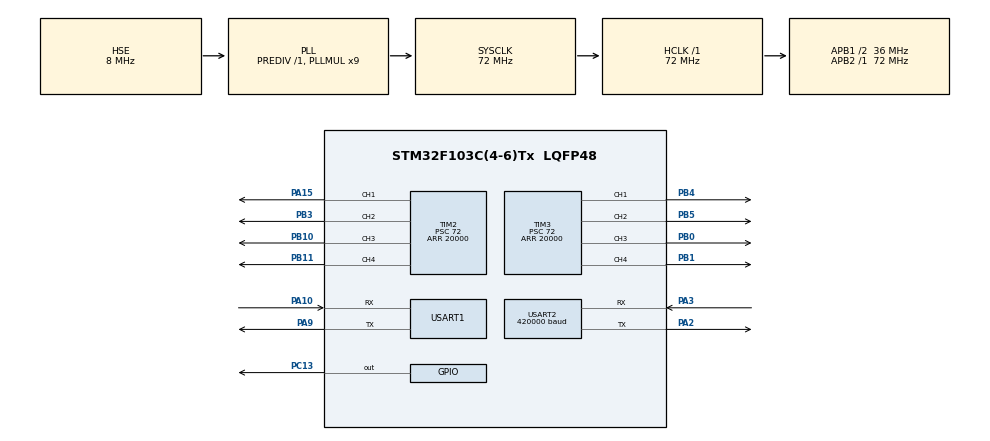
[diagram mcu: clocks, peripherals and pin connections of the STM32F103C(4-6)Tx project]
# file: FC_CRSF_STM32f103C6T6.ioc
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Dma.Request0=USART2_RX
Dma.USART2_RX.0.Direction=DMA_PERIPH_TO_MEMORY
Dma.USART2_RX.0.Instance=DMA1_Channel6
Dma.USART2_RX.0.MemDataAlignment=DMA_MDATAALIGN_BYTE
Dma.USART2_RX.0.MemInc=DMA_MINC_ENABLE
Dma.USART2_RX.0.Mode=DMA_CIRCULAR
Dma.USART2_RX.0.PeriphDataAlignment=DMA_PDATAALIGN_BYTE
Dma.USART2_RX.0.PeriphInc=DMA_PINC_DISABLE
Dma.USART2_RX.0.Priority=DMA_PRIORITY_LOW
Mcu.Family=STM32F1
Mcu.Name=STM32F103C(4-6)Tx
Mcu.Package=LQFP48
NVIC.DMA1_Channel6_IRQn=true\:0\:0\:false\:false\:true\:false\:true
NVIC.PriorityGroup=NVIC_PRIORITYGROUP_4
NVIC.USART1_IRQn=true\:0\:0\:false\:false\:true\:true\:true
PA10.Mode=Asynchronous
PA10.Signal=USART1_RX
PA13.Mode=Serial_Wire
PA13.Signal=SYS_JTMS-SWDIO
PA14.Mode=Serial_Wire
PA14.Signal=SYS_JTCK-SWCLK
PA15.Signal=S_TIM2_CH1_ETR
PA2.Mode=Asynchronous
PA2.Signal=USART2_TX
PA3.Mode=Asynchronous
PA3.Signal=USART2_RX
PA9.Mode=Asynchronous
PA9.Signal=USART1_TX
PB0.Signal=S_TIM3_CH3
PB1.Signal=S_TIM3_CH4
PB10.Signal=S_TIM2_CH3
PB11.Signal=S_TIM2_CH4
PB3.Signal=S_TIM2_CH2
PB4.Signal=S_TIM3_CH1
PB5.Signal=S_TIM3_CH2
PC13-TAMPER-RTC.Signal=GPIO_Output
PD0-OSC_IN.Mode=HSE-External-Oscillator
PD0-OSC_IN.Signal=RCC_OSC_IN
PD1-OSC_OUT.Mode=HSE-External-Oscillator
PD1-OSC_OUT.Signal=RCC_OSC_OUT
ProjectManager.HeapSize=0x200
ProjectManager.StackSize=0x400
ProjectManager.TargetToolchain=STM32CubeIDE
RCC.AHBFreq_Value=72000000
RCC.APB1CLKDivider=RCC_HCLK_DIV2
RCC.APB1Freq_Value=36000000
RCC.APB1TimFreq_Value=72000000
RCC.APB2Freq_Value=72000000
RCC.APB2TimFreq_Value=72000000
RCC.HCLKFreq_Value=72000000
RCC.PLLMUL=RCC_PLL_MUL9
RCC.PLLSourceVirtual=RCC_PLLSOURCE_HSE
RCC.SYSCLKFreq_VALUE=72000000
RCC.SYSCLKSource=RCC_SYSCLKSOURCE_PLLCLK
RCC.USBFreq_Value=72000000
SH.S_TIM2_CH1_ETR.0=TIM2_CH1,PWM Generation1 CH1
SH.S_TIM2_CH2.0=TIM2_CH2,PWM Generation2 CH2
SH.S_TIM2_CH3.0=TIM2_CH3,PWM Generation3 CH3
SH.S_TIM2_CH4.0=TIM2_CH4,PWM Generation4 CH4
SH.S_TIM3_CH1.0=TIM3_CH1,PWM Generation1 CH1
SH.S_TIM3_CH2.0=TIM3_CH2,PWM Generation2 CH2
SH.S_TIM3_CH3.0=TIM3_CH3,PWM Generation3 CH3
SH.S_TIM3_CH4.0=TIM3_CH4,PWM Generation4 CH4
TIM2.Channel-PWM\ Generation1\ CH1=TIM_CHANNEL_1
TIM2.Channel-PWM\ Generation2\ CH2=TIM_CHANNEL_2
TIM2.Channel-PWM\ Generation3\ CH3=TIM_CHANNEL_3
TIM2.Channel-PWM\ Generation4\ CH4=TIM_CHANNEL_4
TIM2.Period=20000
TIM2.Prescaler=72
TIM3.Channel-PWM\ Generation1\ CH1=TIM_CHANNEL_1
TIM3.Channel-PWM\ Generation2\ CH2=TIM_CHANNEL_2
TIM3.Channel-PWM\ Generation3\ CH3=TIM_CHANNEL_3
TIM3.Channel-PWM\ Generation4\ CH4=TIM_CHANNEL_4
TIM3.Period=20000
TIM3.Prescaler=72
USART1.VirtualMode=VM_ASYNC
USART2.BaudRate=420000
USART2.VirtualMode=VM_ASYNC
board=custom

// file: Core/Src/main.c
/* USER CODE BEGIN Header */
/**
  ******************************************************************************
  * @file           : main.c
  * @brief          : Main program body
  ******************************************************************************
  * @attention
  *
  * Copyright (c) 2022 STMicroelectronics.
  * All rights reserved.
  *
  * This software is licensed under terms that can be found in the LICENSE file
  * in the root directory of this software component.
  * If no LICENSE file comes with this software, it is provided AS-IS.
  *
  ******************************************************************************
  */
/* USER CODE END Header */
#include "main.h"

/* USER CODE BEGIN Includes */

#include <string.h>
#include <stdio.h>

#include "CRSF.h"

/* USER CODE END Includes */

/* USER CODE BEGIN PTD */

struct {
	uint16_t Pitch_PWM;
	uint16_t Roll_PWM;
} RecieveStruct;

/* USER CODE END PTD */

TIM_HandleTypeDef htim2;
TIM_HandleTypeDef htim3;

UART_HandleTypeDef huart1;
UART_HandleTypeDef huart2;
DMA_HandleTypeDef hdma_usart2_rx;

/* USER CODE BEGIN PV */

uint8_t data = 0;
uint32_t last, now;

/* USER CODE END PV */

void SystemClock_Config(void);
static void MX_GPIO_Init(void);
static void MX_USART1_UART_Init(void);
static void MX_USART2_UART_Init(void);
static void MX_DMA_Init(void);
static void MX_TIM2_Init(void);
static void MX_TIM3_Init(void);

/* USER CODE BEGIN 0 */

void HAL_UART_RxCpltCallback(UART_HandleTypeDef *huart)
  {
      if (huart == &huart2){
          ProcessCRSF(data);
          HAL_UART_Receive_DMA(&huart2, &data, 1);
      }

      if (huart == &huart1) {
      		uint8_t ack = 4;

      		HAL_UART_Transmit_IT(&huart1, &ack, 1);

      	}
  }

void HAL_UART_TxCpltCallback(UART_HandleTypeDef *huart) {
	if (huart == &huart1) {
		HAL_UART_Receive_IT(&huart1, &RecieveStruct, 4);
	}
}

/* USER CODE END 0 */

int main(void)
{

  /* MCU Configuration--------------------------------------------------------*/

  /* Reset of all peripherals, Initializes the Flash interface and the Systick. */
  HAL_Init();

  /* Configure the system clock */
  SystemClock_Config();

  /* Initialize all configured peripherals */
  MX_GPIO_Init();
  MX_USART1_UART_Init();
  MX_USART2_UART_Init();
  MX_DMA_Init();
  MX_TIM2_Init();
  MX_TIM3_Init();
  /* USER CODE BEGIN 2 */

  DWT_Init();

  HAL_UART_Receive_DMA(&huart2, &data, 1);

  HAL_UART_Receive_IT(&huart1, &RecieveStruct, 4);

  HAL_TIM_PWM_Start(&htim2, TIM_CHANNEL_1);
  HAL_TIM_PWM_Start(&htim2, TIM_CHANNEL_2);
  HAL_TIM_PWM_Start(&htim2, TIM_CHANNEL_3);
  HAL_TIM_PWM_Start(&htim2, TIM_CHANNEL_4);

  HAL_TIM_PWM_Start(&htim3, TIM_CHANNEL_1);
  HAL_TIM_PWM_Start(&htim3, TIM_CHANNEL_2);
  HAL_TIM_PWM_Start(&htim3, TIM_CHANNEL_3);
  HAL_TIM_PWM_Start(&htim3, TIM_CHANNEL_4);

  /* USER CODE END 2 */

  /* Infinite loop */
  /* USER CODE BEGIN WHILE */
  while (1)
  {
	  if(HAL_GetTick()- last > 10){
		  uint8_t mode = 0;
		  uint16_t modePWM = crsfReadRawRC(5);

		  if(modePWM > 1300){
			  mode = 1;
		  }
		  else{
			  mode = 0;
		  }

		  modePWM = crsfReadRawRC(6);

		  if(mode){
			  if(modePWM < 1300){
				  mode = 1;
			  }
			  else if(modePWM < 1700){
				  mode = 2;
			  }
			  else{
				  mode = 3;
			  }
		  }

		  switch(mode){
		  case 0:
			  /*Manual control*/
			  TIM2->CCR1 = crsfReadRawRC(0); //Aile
			  TIM2->CCR2 = crsfReadRawRC(1); //Alev
			  TIM3->CCR1 = crsfReadRawRC(2); //Throttle
			  TIM3->CCR2 = crsfReadRawRC(3); //Ruder
			  TIM2->CCR3 = crsfReadRawRC(0); //Aile
			  break;
		  case 1:
			  TIM2->CCR1 = RecieveStruct.Roll_PWM;
			  TIM2->CCR2 = crsfReadRawRC(1); //Alev
			  TIM3->CCR1 = crsfReadRawRC(2); //Throttle
			  TIM3->CCR2 = crsfReadRawRC(3); //Ruder
			  TIM2->CCR3 = RecieveStruct.Roll_PWM; //Aile
			  break;
		  case 2:
			  TIM2->CCR1 = crsfReadRawRC(0); //Aile
			  TIM2->CCR2 = RecieveStruct.Pitch_PWM;
			  TIM3->CCR1 = crsfReadRawRC(2); //Throttle
			  TIM3->CCR2 = crsfReadRawRC(3); //Ruder
			  TIM2->CCR3 = crsfReadRawRC(0); //Aile
			  break;
		  case 3:
			  TIM2->CCR1 = RecieveStruct.Roll_PWM;
			  TIM2->CCR2 = RecieveStruct.Pitch_PWM;
			  TIM3->CCR1 = crsfReadRawRC(2); //Throttle
			  TIM3->CCR2 = crsfReadRawRC(3); //Ruder
			  TIM2->CCR3 = RecieveStruct.Roll_PWM; //Aile

		  }

	  if(crsfReadRawRC(1) > 0){
		  HAL_GPIO_TogglePin(GPIOC, GPIO_PIN_13);
	  }
	  last = HAL_GetTick();
	  }
    /* USER CODE END WHILE */

  }
}

void SystemClock_Config(void)
{
  RCC_OscInitTypeDef RCC_OscInitStruct = {0};
  RCC_ClkInitTypeDef RCC_ClkInitStruct = {0};

  /** Initializes the RCC Oscillators according to the specified parameters
  * in the RCC_OscInitTypeDef structure.
  */
  RCC_OscInitStruct.OscillatorType = RCC_OSCILLATORTYPE_HSE;
  RCC_OscInitStruct.HSEState = RCC_HSE_ON;
  RCC_OscInitStruct.HSEPredivValue = RCC_HSE_PREDIV_DIV1;
  RCC_OscInitStruct.HSIState = RCC_HSI_ON;
  RCC_OscInitStruct.PLL.PLLState = RCC_PLL_ON;
  RCC_OscInitStruct.PLL.PLLSource = RCC_PLLSOURCE_HSE;
  RCC_OscInitStruct.PLL.PLLMUL = RCC_PLL_MUL9;
  if (HAL_RCC_OscConfig(&RCC_OscInitStruct) != HAL_OK)
  {
    Error_Handler();
  }
  /** Initializes the CPU, AHB and APB buses clocks
  */
  RCC_ClkInitStruct.ClockType = RCC_CLOCKTYPE_HCLK|RCC_CLOCKTYPE_SYSCLK
                              |RCC_CLOCKTYPE_PCLK1|RCC_CLOCKTYPE_PCLK2;
  RCC_ClkInitStruct.SYSCLKSource = RCC_SYSCLKSOURCE_PLLCLK;
  RCC_ClkInitStruct.AHBCLKDivider = RCC_SYSCLK_DIV1;
  RCC_ClkInitStruct.APB1CLKDivider = RCC_HCLK_DIV2;
  RCC_ClkInitStruct.APB2CLKDivider = RCC_HCLK_DIV1;

  if (HAL_RCC_ClockConfig(&RCC_ClkInitStruct, FLASH_LATENCY_2) != HAL_OK)
  {
    Error_Handler();
  }
}

static void MX_TIM2_Init(void)
{

  TIM_MasterConfigTypeDef sMasterConfig = {0};
  TIM_OC_InitTypeDef sConfigOC = {0};

  htim2.Instance = TIM2;
  htim2.Init.Prescaler = 72;
  htim2.Init.CounterMode = TIM_COUNTERMODE_UP;
  htim2.Init.Period = 20000;
  htim2.Init.ClockDivision = TIM_CLOCKDIVISION_DIV1;
  htim2.Init.AutoReloadPreload = TIM_AUTORELOAD_PRELOAD_DISABLE;
  if (HAL_TIM_PWM_Init(&htim2) != HAL_OK)
  {
    Error_Handler();
  }
  sMasterConfig.MasterOutputTrigger = TIM_TRGO_RESET;
  sMasterConfig.MasterSlaveMode = TIM_MASTERSLAVEMODE_DISABLE;
  if (HAL_TIMEx_MasterConfigSynchronization(&htim2, &sMasterConfig) != HAL_OK)
  {
    Error_Handler();
  }
  sConfigOC.OCMode = TIM_OCMODE_PWM1;
  sConfigOC.Pulse = 0;
  sConfigOC.OCPolarity = TIM_OCPOLARITY_HIGH;
  sConfigOC.OCFastMode = TIM_OCFAST_DISABLE;
  if (HAL_TIM_PWM_ConfigChannel(&htim2, &sConfigOC, TIM_CHANNEL_1) != HAL_OK)
  {
    Error_Handler();
  }
  if (HAL_TIM_PWM_ConfigChannel(&htim2, &sConfigOC, TIM_CHANNEL_2) != HAL_OK)
  {
    Error_Handler();
  }
  if (HAL_TIM_PWM_ConfigChannel(&htim2, &sConfigOC, TIM_CHANNEL_3) != HAL_OK)
  {
    Error_Handler();
  }
  if (HAL_TIM_PWM_ConfigChannel(&htim2, &sConfigOC, TIM_CHANNEL_4) != HAL_OK)
  {
    Error_Handler();
  }
  HAL_TIM_MspPostInit(&htim2);

}

static void MX_TIM3_Init(void)
{

  TIM_MasterConfigTypeDef sMasterConfig = {0};
  TIM_OC_InitTypeDef sConfigOC = {0};

  htim3.Instance = TIM3;
  htim3.Init.Prescaler = 72;
  htim3.Init.CounterMode = TIM_COUNTERMODE_UP;
  htim3.Init.Period = 20000;
  htim3.Init.ClockDivision = TIM_CLOCKDIVISION_DIV1;
  htim3.Init.AutoReloadPreload = TIM_AUTORELOAD_PRELOAD_DISABLE;
  if (HAL_TIM_PWM_Init(&htim3) != HAL_OK)
  {
    Error_Handler();
  }
  sMasterConfig.MasterOutputTrigger = TIM_TRGO_RESET;
  sMasterConfig.MasterSlaveMode = TIM_MASTERSLAVEMODE_DISABLE;
  if (HAL_TIMEx_MasterConfigSynchronization(&htim3, &sMasterConfig) != HAL_OK)
  {
    Error_Handler();
  }
  sConfigOC.OCMode = TIM_OCMODE_PWM1;
  sConfigOC.Pulse = 0;
  sConfigOC.OCPolarity = TIM_OCPOLARITY_HIGH;
  sConfigOC.OCFastMode = TIM_OCFAST_DISABLE;
  if (HAL_TIM_PWM_ConfigChannel(&htim3, &sConfigOC, TIM_CHANNEL_1) != HAL_OK)
  {
    Error_Handler();
  }
  if (HAL_TIM_PWM_ConfigChannel(&htim3, &sConfigOC, TIM_CHANNEL_2) != HAL_OK)
  {
    Error_Handler();
  }
  if (HAL_TIM_PWM_ConfigChannel(&htim3, &sConfigOC, TIM_CHANNEL_3) != HAL_OK)
  {
    Error_Handler();
  }
  if (HAL_TIM_PWM_ConfigChannel(&htim3, &sConfigOC, TIM_CHANNEL_4) != HAL_OK)
  {
    Error_Handler();
  }
  HAL_TIM_MspPostInit(&htim3);

}

static void MX_USART1_UART_Init(void)
{

  huart1.Instance = USART1;
  huart1.Init.BaudRate = 115200;
  huart1.Init.WordLength = UART_WORDLENGTH_8B;
  huart1.Init.StopBits = UART_STOPBITS_1;
  huart1.Init.Parity = UART_PARITY_NONE;
  huart1.Init.Mode = UART_MODE_TX_RX;
  huart1.Init.HwFlowCtl = UART_HWCONTROL_NONE;
  huart1.Init.OverSampling = UART_OVERSAMPLING_16;
  if (HAL_UART_Init(&huart1) != HAL_OK)
  {
    Error_Handler();
  }

}

static void MX_USART2_UART_Init(void)
{

  huart2.Instance = USART2;
  huart2.Init.BaudRate = 420000;
  huart2.Init.WordLength = UART_WORDLENGTH_8B;
  huart2.Init.StopBits = UART_STOPBITS_1;
  huart2.Init.Parity = UART_PARITY_NONE;
  huart2.Init.Mode = UART_MODE_TX_RX;
  huart2.Init.HwFlowCtl = UART_HWCONTROL_NONE;
  huart2.Init.OverSampling = UART_OVERSAMPLING_16;
  if (HAL_UART_Init(&huart2) != HAL_OK)
  {
    Error_Handler();
  }

}

static void MX_DMA_Init(void)
{

  /* DMA controller clock enable */
  __HAL_RCC_DMA1_CLK_ENABLE();

  /* DMA interrupt init */
  /* DMA1_Channel6_IRQn interrupt configuration */
  HAL_NVIC_SetPriority(DMA1_Channel6_IRQn, 0, 0);
  HAL_NVIC_EnableIRQ(DMA1_Channel6_IRQn);

}

static void MX_GPIO_Init(void)
{
  GPIO_InitTypeDef GPIO_InitStruct = {0};

  /* GPIO Ports Clock Enable */
  __HAL_RCC_GPIOC_CLK_ENABLE();
  __HAL_RCC_GPIOD_CLK_ENABLE();
  __HAL_RCC_GPIOA_CLK_ENABLE();
  __HAL_RCC_GPIOB_CLK_ENABLE();

  /*Configure GPIO pin Output Level */
  HAL_GPIO_WritePin(GPIOC, GPIO_PIN_13, GPIO_PIN_RESET);

  /*Configure GPIO pin : PC13 */
  GPIO_InitStruct.Pin = GPIO_PIN_13;
  GPIO_InitStruct.Mode = GPIO_MODE_OUTPUT_PP;
  GPIO_InitStruct.Pull = GPIO_NOPULL;
  GPIO_InitStruct.Speed = GPIO_SPEED_FREQ_LOW;
  HAL_GPIO_Init(GPIOC, &GPIO_InitStruct);

}

void Error_Handler(void)
{
  __disable_irq();
  while (1)
  {
  }
}
